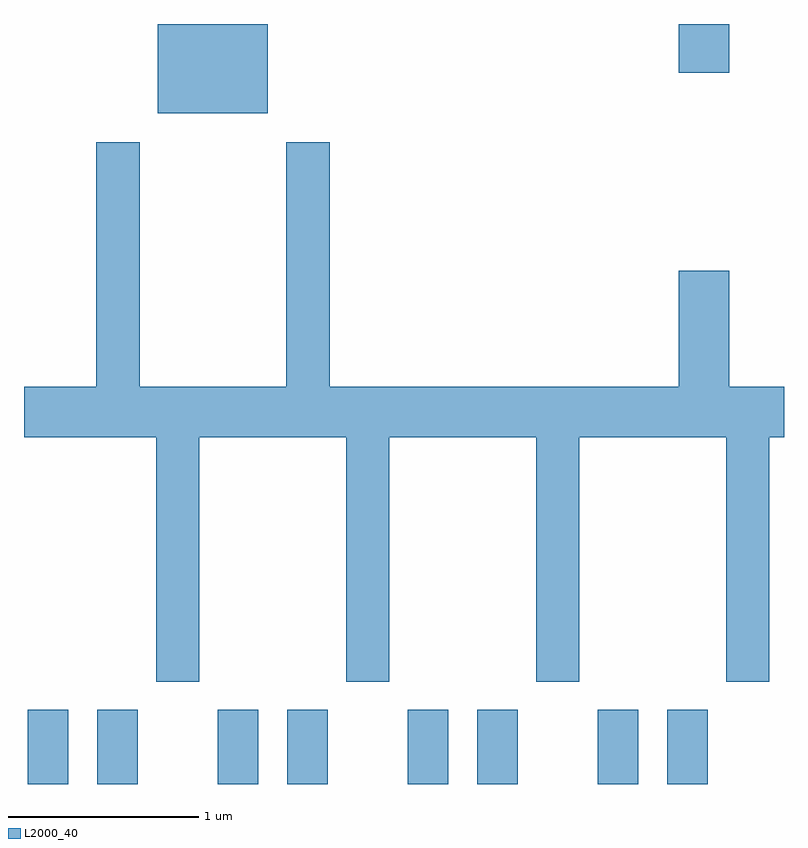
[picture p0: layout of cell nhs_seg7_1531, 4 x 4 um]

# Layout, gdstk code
import gdstk
lib = gdstk.Library(unit=1e-6, precision=1e-09)
def R(c, l, rs):  # rectangles x0, y0, x1, y1
    for r in rs: c.add(gdstk.rectangle(r[:2], r[2:], *l))
def P(c, l, *ps):  # polygons
    for p in ps: c.add(gdstk.Polygon(p, *l))
L2000_40 = (2000, 40)

nhs_seg7_1531 = lib.new_cell('nhs_seg7_1531')
R(nhs_seg7_1531, L2000_40, [(231.631,1730.252,231.844,1730.644), (231.996,1730.252,232.209,1730.644), (232.631,1730.252,232.844,1730.644), (232.996,1730.252,233.209,1730.644), (233.631,1730.252,233.844,1730.644), (233.996,1730.252,234.209,1730.644), (234.631,1730.252,234.844,1730.644), (234.996,1730.252,235.209,1730.644), (232.316,1733.781,232.894,1734.252), (235.056,1733.996,235.324,1734.252)])
P(nhs_seg7_1531, L2000_40, [(232.219,1733.629),(231.991,1733.629),(231.991,1732.344),(231.611,1732.344),(231.611,1732.076),(232.306,1732.076),(232.306,1730.791),(232.534,1730.791),(232.534,1732.076),(233.306,1732.076),(233.306,1730.791),(233.534,1730.791),(233.534,1732.076),(234.306,1732.076),(234.306,1730.791),(234.534,1730.791),(234.534,1732.076),(235.306,1732.076),(235.306,1730.791),(235.534,1730.791),(235.534,1732.076),(235.611,1732.076),(235.611,1732.344),(235.324,1732.344),(235.324,1732.954),(235.056,1732.954),(235.056,1732.344),(233.219,1732.344),(233.219,1733.629),(232.991,1733.629),(232.991,1732.344),(232.219,1732.344)])

lib.write_gds('nhs_seg7_1531.gds')
